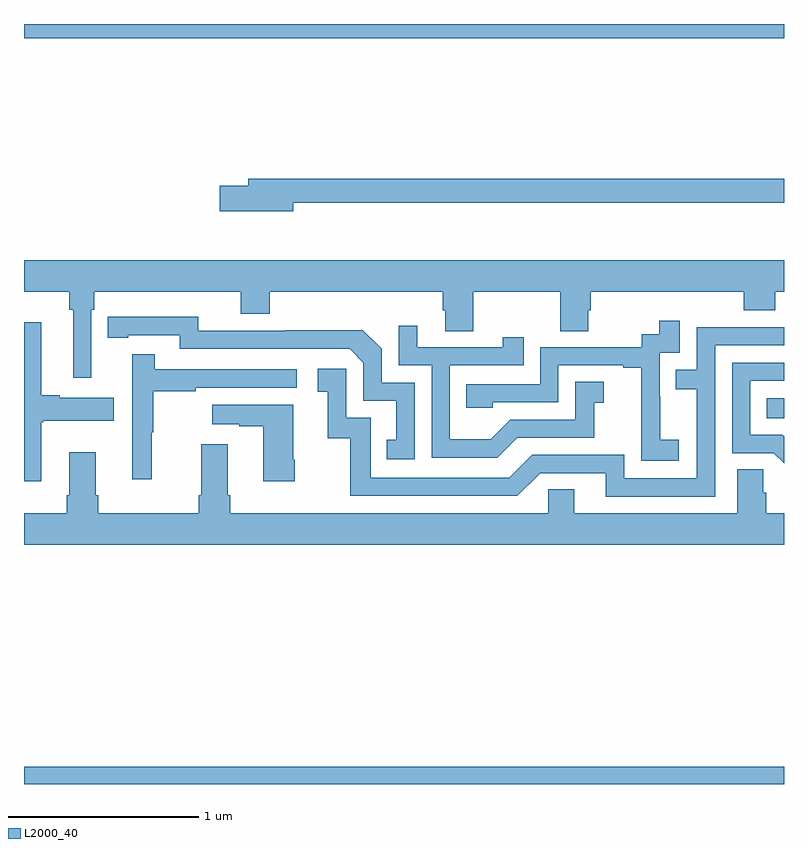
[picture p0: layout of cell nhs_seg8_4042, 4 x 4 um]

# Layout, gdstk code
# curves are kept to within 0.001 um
import gdstk
lib = gdstk.Library(unit=1e-6, precision=1e-09)
def R(c, l, rs):  # rectangles x0, y0, x1, y1
    for r in rs: c.add(gdstk.rectangle(r[:2], r[2:], *l))
def P(c, l, *ps):  # polygons
    for p in ps: c.add(gdstk.Polygon(p, *l))
L2000_40 = (2000, 40)

nhs_seg8_4042 = lib.new_cell('nhs_seg8_4042')
R(nhs_seg8_4042, L2000_40, [(359,1121.9,363,1121.992), (362.908,1123.826,363,1123.93), (359,1125.824,363,1125.9)])
P(nhs_seg8_4042, L2000_40, [(360.418,1124.958),(363,1124.958),(363,1125.086),(360.179,1125.086),(360.179,1125.05),(360.03,1125.05),(360.03,1124.915),(360.418,1124.915)],
  [(359.355,1124.396),(359.369,1124.396),(359.369,1124.492),(360.14,1124.492),(360.14,1124.375),(360.293,1124.375),(360.293,1124.492),(361.205,1124.492),(361.205,1124.394),(361.217,1124.394),(361.217,1124.284),(361.365,1124.284),(361.365,1124.492),(361.822,1124.492),(361.822,1124.284),(361.969,1124.284),(361.969,1124.394),(361.982,1124.394),(361.982,1124.492),(362.789,1124.492),(362.789,1124.393),(362.954,1124.393),(362.954,1124.492),(363,1124.492),(363,1124.656),(359,1124.656),(359,1124.492),(359.239,1124.492),(359.239,1124.396),(359.258,1124.396),(359.258,1124.037),(359.355,1124.037)],
  [(361.056,1124.013),(360.882,1124.013),(360.882,1124.19),(360.784,1124.288),(360.376,1124.288),(360.376,1124.286),(359.916,1124.286),(359.916,1124.359),(359.44,1124.358),(359.44,1124.25),(359.548,1124.25),(359.548,1124.262),(359.82,1124.262),(359.82,1124.19),(360.714,1124.19),(360.786,1124.118),(360.786,1123.917),(360.959,1123.917),(360.959,1123.713),(360.91,1123.713),(360.91,1123.608),(361.056,1123.608)],
  [(362.446,1123.711),(362.348,1123.711),(362.348,1123.94),(362.346,1123.94),(362.346,1124.169),(362.451,1124.169),(362.451,1124.338),(362.343,1124.338),(362.343,1124.268),(362.25,1124.268),(362.25,1124.199),(361.716,1124.199),(361.716,1124.004),(361.327,1124.004),(361.327,1123.881),(361.467,1123.881),(361.467,1123.908),(361.812,1123.908),(361.812,1124.103),(362.153,1124.103),(362.153,1124.091),(362.249,1124.091),(362.249,1123.807),(362.248,1123.807),(362.248,1123.601),(362.446,1123.601)],
  [(359.092,1123.804),(359.1,1123.804),(359.1,1123.811),(359.473,1123.811),(359.473,1123.933),(359.188,1123.933),(359.188,1123.946),(359.092,1123.946),(359.092,1124.329),(359,1124.329),(359,1123.494),(359.092,1123.494)],
  [(361.597,1123.722),(362.001,1123.722),(362.001,1123.907),(362.05,1123.907),(362.05,1124.017),(361.902,1124.017),(361.902,1123.818),(361.56,1123.818),(361.456,1123.714),(361.242,1123.714),(361.242,1124.103),(361.631,1124.103),(361.631,1124.251),(361.52,1124.251),(361.52,1124.199),(361.069,1124.199),(361.069,1124.311),(360.972,1124.311),(360.972,1124.103),(361.146,1124.103),(361.146,1123.617),(361.492,1123.617)],
  [(362.637,1124.208),(363,1124.208),(363,1124.304),(362.541,1124.304),(362.541,1124.079),(362.431,1124.079),(362.431,1123.978),(362.541,1123.978),(362.541,1123.509),(362.16,1123.509),(362.16,1123.632),(361.674,1123.632),(361.554,1123.512),(360.825,1123.512),(360.825,1123.827),(360.696,1123.827),(360.696,1124.086),(360.546,1124.086),(360.546,1123.965),(360.599,1123.965),(360.599,1123.719),(360.717,1123.719),(360.717,1123.416),(361.596,1123.416),(361.716,1123.536),(362.063,1123.536),(362.063,1123.413),(362.637,1123.413)],
  [(359.672,1123.752),(359.68,1123.752),(359.68,1123.966),(359.903,1123.966),(359.903,1123.986),(360.436,1123.986),(360.436,1124.082),(359.687,1124.082),(359.687,1124.161),(359.571,1124.161),(359.571,1123.715),(359.57,1123.715),(359.57,1123.503),(359.672,1123.503)],
  [(363,1123.729),(362.992,1123.737),(362.823,1123.737),(362.823,1124.022),(363,1124.022),(363,1124.118),(362.727,1124.118),(362.727,1123.641),(362.946,1123.641),(363,1123.587)],
  [(360.426,1123.606),(360.418,1123.606),(360.418,1123.897),(359.991,1123.897),(359.991,1123.793),(360.134,1123.793),(360.134,1123.783),(360.26,1123.783),(360.26,1123.494),(360.426,1123.494)],
  [(363,1123.324),(362.906,1123.324),(362.906,1123.433),(362.892,1123.433),(362.892,1123.556),(362.753,1123.556),(362.753,1123.324),(361.897,1123.324),(361.897,1123.451),(361.758,1123.451),(361.758,1123.324),(360.086,1123.324),(360.086,1123.42),(360.073,1123.42),(360.073,1123.687),(359.933,1123.687),(359.933,1123.42),(359.921,1123.42),(359.921,1123.324),(359.39,1123.324),(359.39,1123.42),(359.377,1123.42),(359.377,1123.645),(359.237,1123.645),(359.237,1123.42),(359.225,1123.42),(359.225,1123.324),(359,1123.324),(359,1123.16),(363,1123.16)])

lib.write_gds('nhs_seg8_4042.gds')
